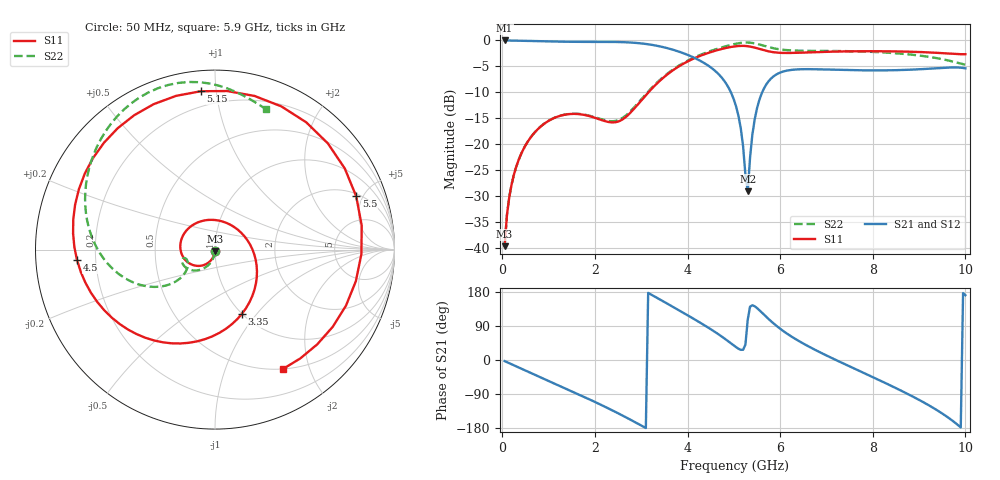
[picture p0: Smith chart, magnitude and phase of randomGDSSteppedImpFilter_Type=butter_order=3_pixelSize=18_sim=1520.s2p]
! freq	dB(S11)	phase(S11)	dB(S12)	phase(S12)
!  dB(S21)	phase(S21)	dB(S22)	phase(S22)
!S-par simulation data
#  GHz  S  DB  R 50
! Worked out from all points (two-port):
!   200 points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, 50 MHz to 10 GHz, reference 50 ohm
!   highest |S21| = 0.00 dB at 50 MHz (marker M1); lowest = -29.1 dB at 5.3 GHz (marker M2)
!   |S21| within 3 dB of the highest: start of sweep to 4.06 GHz
!   lowest |S11| = -39.7 dB at 50 MHz (marker M3), VSWR 1.02, Z = 49.9 - j1.03 ohm
!   |S11| at or under -10 dB: start of sweep to 3.157 GHz
!   |S22| runs from -39.7 to -0.4 dB; largest |S21 - S12| = 0
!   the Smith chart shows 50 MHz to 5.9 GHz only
!   S11 on the Smith chart (normalised r, x): 50 MHz: 1.00, -0.02; 3.35 GHz: 1.00, -0.84; 4.5 GHz: 0.13, -0.04; 5.15 GHz: 0.11, +0.91; 5.5 GHz: 2.20, +4.45; 5.9 GHz: 0.50, -1.60
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0.05  -39.70 -92.6  -0.00 -2.8  -0.00 -2.8  -39.67 -91.6
0.2  -27.82 -102.8  -0.03 -11.2  -0.03 -11.2  -27.81 -99.6
0.5  -20.27 -122.4  -0.08 -27.8  -0.08 -27.8  -20.26 -114.1
1.75  -14.33 147.7  -0.28 -96.5  -0.28 -96.5  -14.28 -161.6
2.7  -14.53 16.3  -0.37 -153.2  -0.37 -153.2  -14.24 -144.6
3.35  -8.22 -67.2  -1.05 163.4  -1.05 163.4  -8.06 -148.3
3.4  -7.81 -72.3  -1.14 160.0  -1.14 160.0  -7.64 -150.1
3.95  -4.30 -123.8  -2.60 121.7  -2.60 121.7  -4.15 -175.0
4.5  -2.26 -175.8  -5.19 81.4  -5.19 81.4  -2.03 156.0
4.8  -1.51 149.7  -7.89 56.6  -7.89 56.6  -1.18 138.9
5.05  -1.12 112.8  -12.79 33.8  -12.79 33.8  -0.63 123.2
5.15  -1.05 95.1  -16.98 26.8  -16.98 26.8  -0.48 116.4
5.3  -1.12 65.1  -29.10 106.3  -29.10 106.3  -0.41 105.8
5.5  -1.51 20.7  -13.11 137.1  -13.11 137.1  -0.66 92.0
5.9  -2.32 -60.6  -6.66 92.2  -6.66 92.2  -1.59 70.2
6.7  -2.28 -148.1  -5.55 30.3  -5.55 30.3  -2.01 30.8
7.55  -2.10 162.0  -5.74 -19.7  -5.74 -19.7  -2.08 -19.3
8.35  -2.10 124.5  -5.77 -65.3  -5.77 -65.3  -2.38 -73.6
8.9  -2.20 100.1  -5.61 -98.8  -5.61 -98.8  -2.81 -117.1
9.4  -2.40 78.6  -5.35 -133.4  -5.35 -133.4  -3.45 -166.9
9.7  -2.57 66.6  -5.21 -158.3  -5.21 -158.3  -4.01 153.1
10  -2.66 56.1  -5.39 171.0  -5.39 171.0  -4.69 97.8
